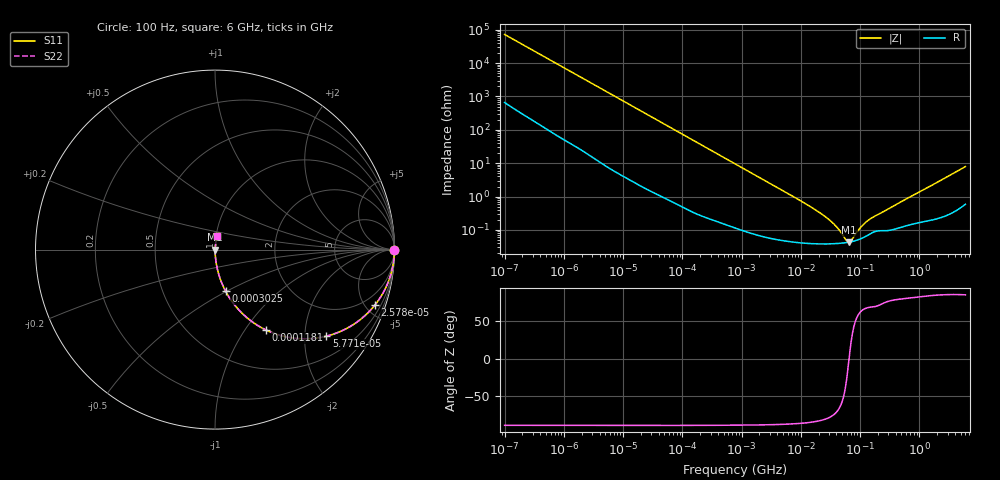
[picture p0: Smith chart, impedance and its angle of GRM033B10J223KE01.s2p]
!Murata Part Number: GRM033B10J223KE01
!These Parameters are Measured in Series Mode Connection
!Data Generated on Mar 30, 2021
!  o--ll--o
!Port1  Port2
!  o------o
!Operation Temp=25[degC], DC Bias Voltage=0[V]
!Freq. Start=100[Hz] Stop=6[GHz] 401[Steps]
# Hz S RI R 50
!Freq.(Hz) S11(Real) S11(Imag) S21(Real) S21(Imag) S12(Real) S12(Imag) S22(Real) S22(Imag)
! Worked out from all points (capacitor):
!   401 points, 100 Hz to 6 GHz, reference 50 ohm
!   read as one part in series: C = 22 nF near 109 Hz
!   lowest |Z| = 43.1 mohm at 65.19 MHz (marker M1)
!   series resonance near 65.28 MHz, so ESL is about 270 pH
!   S11 on the Smith chart (normalised r, x): 100 Hz: open; 25.78 kHz: 1.03, -5.73; 57.71 kHz: 1.02, -2.57; 118.1 kHz: 1.01, -1.26; 302.5 kHz: 1.00, -0.49; 6 GHz: 1.01, +0.16
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100  1 -0.00139  1.46e-05 0.00139  1.46e-05 0.00139  1 -0.00139
2008  0.9991 -0.0274  0.000936 0.0274  0.000936 0.0274  0.9991 -0.0274
8416  0.9865 -0.1128  0.0135 0.1128  0.0135 0.1128  0.9865 -0.1128
25777  0.8899 -0.3102  0.1101 0.3102  0.1101 0.3102  0.8899 -0.3102
40335  0.7692 -0.4184  0.2308 0.4184  0.2308 0.4184  0.7692 -0.4184
57709  0.6212 -0.482  0.3788 0.482  0.3788 0.482  0.6212 -0.482
82567  0.4466 -0.4939  0.5534 0.4939  0.5534 0.4939  0.4466 -0.4939
118133  0.2843 -0.4478  0.7157 0.4478  0.7157 0.4478  0.2843 -0.4478
184852  0.141 -0.3444  0.859 0.3444  0.859 0.3444  0.141 -0.3444
302498  0.0589 -0.2312  0.9411 0.2312  0.9411 0.2312  0.0589 -0.2312
774597  0.0104 -0.0955  0.9896 0.0955  0.9896 0.0955  0.0104 -0.0955
2481164  0.00153 -0.0303  0.9985 0.0303  0.9985 0.0303  0.00153 -0.0303
1.555665e7  0.000409 -0.00461  0.9996 0.00461  0.9996 0.00461  0.000409 -0.00461
3.330331e7  0.000388 -0.00169  0.9996 0.00169  0.9996 0.00169  0.000388 -0.00169
4.35672e7  0.000396 -0.000967  0.9996 0.000967  0.9996 0.000967  0.000396 -0.000967
5.699437e7  0.000415 -0.000316  0.9996 0.000316  0.9996 0.000316  0.000415 -0.000316
6.518806e7  0.000431 -3.2e-06  0.9996 3.2e-06  0.9996 3.2e-06  0.000431 -3.2e-06
7.129496e7  0.000445 0.000205  0.9996 -0.000205  0.9996 -0.000205  0.000445 0.000205
9.753859e7  0.000525 0.000949  0.9995 -0.000949  0.9995 -0.000949  0.000525 0.000949
1.275994e8  0.00066 0.00162  0.9993 -0.00162  0.9993 -0.00162  0.00066 0.00162
3.124326e8  0.000991 0.00436  0.999 -0.00436  0.999 -0.00436  0.000991 0.00436
6e9  0.0119 0.0775  0.9881 -0.0775  0.9881 -0.0775  0.0119 0.0775
